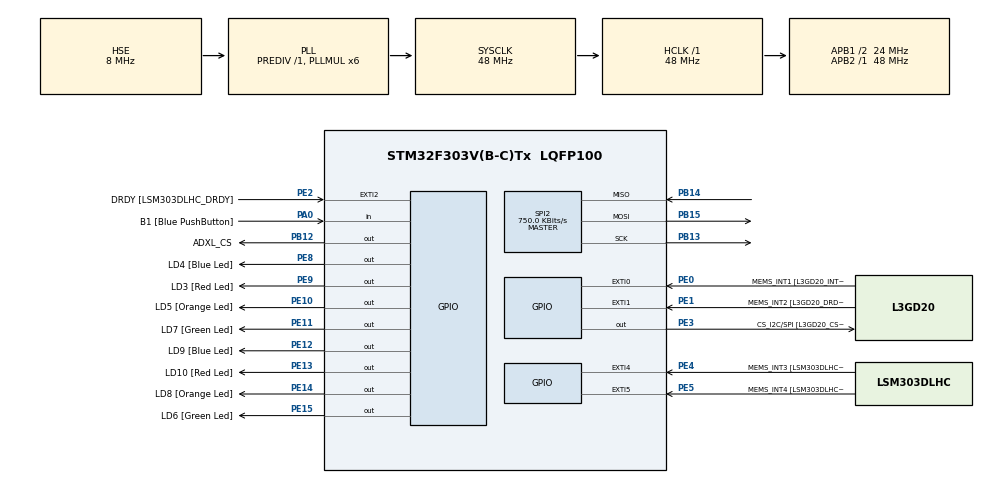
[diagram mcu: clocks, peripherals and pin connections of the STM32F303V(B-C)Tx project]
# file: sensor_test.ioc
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Mcu.Family=STM32F3
Mcu.Name=STM32F303V(B-C)Tx
Mcu.Package=LQFP100
NVIC.PriorityGroup=NVIC_PRIORITYGROUP_0
PA0.GPIO_Label=B1 [Blue PushButton]
PA0.Signal=GPIO_Input
PA13.GPIO_Label=SWDIO
PA13.Mode=Trace_Asynchronous_SW
PA13.Signal=SYS_JTMS-SWDIO
PA14.GPIO_Label=SWCLK
PA14.Mode=Trace_Asynchronous_SW
PA14.Signal=SYS_JTCK-SWCLK
PB12.GPIO_Label=ADXL_CS
PB12.Signal=GPIO_Output
PB13.Mode=Full_Duplex_Master
PB13.Signal=SPI2_SCK
PB14.Mode=Full_Duplex_Master
PB14.Signal=SPI2_MISO
PB15.Mode=Full_Duplex_Master
PB15.Signal=SPI2_MOSI
PB3.GPIO_Label=SWO
PB3.Mode=Trace_Asynchronous_SW
PB3.Signal=SYS_JTDO-TRACESWO
PC14-OSC32_IN.GPIO_Label=OSC32_IN
PC14-OSC32_IN.Signal=RCC_OSC32_IN
PC15-OSC32_OUT.GPIO_Label=OSC32_OUT
PC15-OSC32_OUT.Signal=RCC_OSC32_OUT
PE0.GPIO_Label=MEMS_INT1 [L3GD20_INT1]
PE0.GPIO_ModeDefaultEXTI=GPIO_MODE_EVT_RISING
PE0.Signal=GPXTI0
PE1.GPIO_Label=MEMS_INT2 [L3GD20_DRDY/INT2]
PE1.GPIO_ModeDefaultEXTI=GPIO_MODE_EVT_RISING
PE1.Signal=GPXTI1
PE10.GPIO_Label=LD5 [Orange Led]
PE10.Signal=GPIO_Output
PE11.GPIO_Label=LD7 [Green Led]
PE11.Signal=GPIO_Output
PE12.GPIO_Label=LD9 [Blue Led]
PE12.Signal=GPIO_Output
PE13.GPIO_Label=LD10 [Red Led]
PE13.Signal=GPIO_Output
PE14.GPIO_Label=LD8 [Orange Led]
PE14.Signal=GPIO_Output
PE15.GPIO_Label=LD6 [Green Led]
PE15.Signal=GPIO_Output
PE2.GPIO_Label=DRDY [LSM303DLHC_DRDY]
PE2.GPIO_ModeDefaultEXTI=GPIO_MODE_EVT_RISING
PE2.Signal=GPXTI2
PE3.GPIO_Label=CS_I2C/SPI [L3GD20_CS_I2C/SPI]
PE3.Signal=GPIO_Output
PE4.GPIO_Label=MEMS_INT3 [LSM303DLHC_INT1]
PE4.GPIO_ModeDefaultEXTI=GPIO_MODE_EVT_RISING
PE4.Signal=GPXTI4
PE5.GPIO_Label=MEMS_INT4 [LSM303DLHC_INT2]
PE5.GPIO_ModeDefaultEXTI=GPIO_MODE_EVT_RISING
PE5.Signal=GPXTI5
PE8.GPIO_Label=LD4 [Blue Led]
PE8.Signal=GPIO_Output
PE9.GPIO_Label=LD3 [Red Led]
PE9.Signal=GPIO_Output
PF0-OSC_IN.GPIO_Label=OSC_IN
PF0-OSC_IN.Mode=HSE-External-Clock-Source
PF0-OSC_IN.Signal=RCC_OSC_IN
PF1-OSC_OUT.GPIO_Label=OSC_OUT
PF1-OSC_OUT.Signal=RCC_OSC_OUT
ProjectManager.HeapSize=0x200
ProjectManager.StackSize=0x400
ProjectManager.TargetToolchain=STM32CubeIDE
RCC.AHBFreq_Value=48000000
RCC.APB1CLKDivider=RCC_HCLK_DIV2
RCC.APB1Freq_Value=24000000
RCC.APB1TimFreq_Value=48000000
RCC.APB2Freq_Value=48000000
RCC.APB2TimFreq_Value=48000000
RCC.CortexFreq_Value=48000000
RCC.HCLKFreq_Value=48000000
RCC.HSE_VALUE=8000000
RCC.HSI_VALUE=8000000
RCC.LSE_VALUE=32768
RCC.PLLMUL=RCC_PLL_MUL6
RCC.PLLSourceVirtual=RCC_PLLSOURCE_HSE
RCC.SYSCLKFreq_VALUE=48000000
RCC.SYSCLKSourceVirtual=RCC_SYSCLKSOURCE_PLLCLK
RCC.USBFreq_Value=48000000
SPI2.BaudRatePrescaler=SPI_BAUDRATEPRESCALER_32
SPI2.CLKPhase=SPI_PHASE_2EDGE
SPI2.CLKPolarity=SPI_POLARITY_HIGH
SPI2.CalculateBaudRate=750.0 KBits/s
SPI2.DataSize=SPI_DATASIZE_8BIT
SPI2.Direction=SPI_DIRECTION_2LINES
SPI2.Mode=SPI_MODE_MASTER
SPI2.VirtualType=VM_MASTER
board=STM32F3DISCOVERY

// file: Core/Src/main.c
/* USER CODE BEGIN Header */
/**
  ******************************************************************************
  * @file           : main.c
  * @brief          : Main program body
  ******************************************************************************
  * @attention
  *
  * Copyright (c) 2025 STMicroelectronics.
  * All rights reserved.
  *
  * This software is licensed under terms that can be found in the LICENSE file
  * in the root directory of this software component.
  * If no LICENSE file comes with this software, it is provided AS-IS.
  *
  ******************************************************************************
  */
/* USER CODE END Header */
#include "main.h"

SPI_HandleTypeDef hspi2;

/* USER CODE BEGIN PV */
// ADXL345 Registers
#define ADXL345_REG_DEVID       0x00
#define ADXL345_REG_POWER_CTL   0x2D
#define ADXL345_REG_DATA_FORMAT 0x31
#define ADXL345_REG_DATAX0      0x32

// SPI Command Flags
#define SPI_READ    0x80  // Bit 7: 1 = Read
#define SPI_MULTI   0x40  // Bit 6: 1 = Multi-byte transaction

// Buffer for storing data
uint8_t data_rec[6];
int16_t x_raw, y_raw, z_raw;

/* USER CODE END PV */

void SystemClock_Config(void);
static void MX_GPIO_Init(void);
static void MX_SPI2_Init(void);

/* USER CODE BEGIN 0 */

#include <stdio.h> // Ensure this is included

// This function redirects printf() to the ITM (SWV) Console
int _write(int file, char *ptr, int len)
{
  int i = 0;
  for (i = 0; i < len; i++)
  {
    ITM_SendChar((*ptr++));
  }
  return len;
}
// Function to write to a register
void ADXL_Write(uint8_t reg, uint8_t value) {
    uint8_t data[2];
    data[0] = reg;       // Address (Bit 7 is 0 for Write)
    data[1] = value;     // Data to write

    // 1. Pull CS Low to start transaction
    HAL_GPIO_WritePin(GPIOB, GPIO_PIN_12, GPIO_PIN_RESET);

    // 2. Transmit Address & Data
    HAL_SPI_Transmit(&hspi2, data, 2, 100);

    // 3. Pull CS High to end transaction
    HAL_GPIO_WritePin(GPIOB, GPIO_PIN_12, GPIO_PIN_SET);
}

// Function to read from registers
void ADXL_Read(uint8_t reg, uint8_t* buffer, uint8_t size) {
    uint8_t tx_data[1]; // What we send (Address)

    // ADXL345 Logic: Set Bit 7 for Read. Set Bit 6 if reading multiple bytes.
    tx_data[0] = reg | SPI_READ;
    if(size > 1) {
        tx_data[0] |= SPI_MULTI;
    }

    // 1. Pull CS Low
    HAL_GPIO_WritePin(GPIOB, GPIO_PIN_12, GPIO_PIN_RESET);

    // 2. Send Address
    HAL_SPI_Transmit(&hspi2, tx_data, 1, 100);

    // 3. Receive Data (SPI requires us to "send" dummy bytes to "read" bytes)
    HAL_SPI_Receive(&hspi2, buffer, size, 100);

    // 4. Pull CS High
    HAL_GPIO_WritePin(GPIOB, GPIO_PIN_12, GPIO_PIN_SET);
}

// Initialization Sequence
void ADXL_Init(void) {
    uint8_t dev_id = 0;

    // 1. Read Device ID
    ADXL_Read(ADXL345_REG_DEVID, &dev_id, 1);

    // 2. CHECK STATUS
    if(dev_id == 0xE5) {
        // SUCCESS: Turn ON the LED (Solid)
        HAL_GPIO_WritePin(GPIOE, GPIO_PIN_9, GPIO_PIN_SET);
    } else {
        // FAILURE: Fast Blink
        while(1) {
            HAL_GPIO_TogglePin(GPIOE, GPIO_PIN_9);
            HAL_Delay(50);
        }
    }

    // 3. Configure Data Format (Only if ID was good)
    ADXL_Write(ADXL345_REG_DATA_FORMAT, 0x0B); // +/- 16g, Full Res
    ADXL_Write(ADXL345_REG_POWER_CTL, 0x08);   // Measurement Mode
}

/* USER CODE END 0 */

int main(void)
{

  /* MCU Configuration--------------------------------------------------------*/

  /* Reset of all peripherals, Initializes the Flash interface and the Systick. */  HAL_Init();

  /* Configure the system clock */
  SystemClock_Config();

  /* Initialize all configured peripherals */
  MX_GPIO_Init();
  MX_SPI2_Init();
  /* USER CODE BEGIN 2 */

  // MANUAL FIX: Force PB3 (SWO) to High Speed for clear Trace output
    GPIO_InitTypeDef GPIO_InitStruct = {0};
    GPIO_InitStruct.Pin = GPIO_PIN_3;
    GPIO_InitStruct.Mode = GPIO_MODE_AF_PP;
    GPIO_InitStruct.Pull = GPIO_NOPULL;
    GPIO_InitStruct.Speed = GPIO_SPEED_FREQ_HIGH; // <--- The secret sauce
    GPIO_InitStruct.Alternate = GPIO_AF0_TRACE;   // Ensure it stays as Trace
    HAL_GPIO_Init(GPIOB, &GPIO_InitStruct);

  // Pull CS High initially (Idle state)
  HAL_GPIO_WritePin(GPIOB, GPIO_PIN_12, GPIO_PIN_SET);
 HAL_Delay(100);

  ADXL_Init();

  /* USER CODE END 2 */

  /* Infinite loop */
  /* USER CODE BEGIN WHILE */
  while (1)
  {
	  // 1. Read 6 Bytes starting from DATAX0 (0x32)
	        // This gets X_Low, X_High, Y_Low, Y_High, Z_Low, Z_High
	  // 1. Array to hold raw bytes (6 bytes for X, Y, Z)
	      uint8_t data_rec[6];

	      // 2. Read 6 bytes starting from DATAX0 (0x32)
	      // Note: Ensure bit 6 of reg address is set for multi-byte read (0x32 | 0x40 = 0x72)
	      // If your ADXL_Read function handles the 0x40 bit automatically, just use 0x32.
	      ADXL_Read(0x32, data_rec, 6);

	      // 3. Convert bytes to 16-bit integers
	      int16_t x = ((data_rec[1] << 8) | data_rec[0]);
	      int16_t y = ((data_rec[3] << 8) | data_rec[2]);
	      int16_t z = ((data_rec[5] << 8) | data_rec[4]);

	      // 4. Print to SWV Console
	      printf("X: %d, Y: %d, Z: %d\r\n", x, y, z);

	      // 5. Visual Heartbeat
	      HAL_GPIO_TogglePin(GPIOE, GPIO_PIN_9);
	      HAL_Delay(100);
    /* USER CODE END WHILE */

  }
}

void SystemClock_Config(void)
{
  RCC_OscInitTypeDef RCC_OscInitStruct = {0};
  RCC_ClkInitTypeDef RCC_ClkInitStruct = {0};

  /** Initializes the RCC Oscillators according to the specified parameters
  * in the RCC_OscInitTypeDef structure.
  */
  RCC_OscInitStruct.OscillatorType = RCC_OSCILLATORTYPE_HSE;
  RCC_OscInitStruct.HSEState = RCC_HSE_BYPASS;
  RCC_OscInitStruct.HSEPredivValue = RCC_HSE_PREDIV_DIV1;
  RCC_OscInitStruct.HSIState = RCC_HSI_ON;
  RCC_OscInitStruct.PLL.PLLState = RCC_PLL_ON;
  RCC_OscInitStruct.PLL.PLLSource = RCC_PLLSOURCE_HSE;
  RCC_OscInitStruct.PLL.PLLMUL = RCC_PLL_MUL6;
  if (HAL_RCC_OscConfig(&RCC_OscInitStruct) != HAL_OK)
  {
    Error_Handler();
  }

  /** Initializes the CPU, AHB and APB buses clocks
  */
  RCC_ClkInitStruct.ClockType = RCC_CLOCKTYPE_HCLK|RCC_CLOCKTYPE_SYSCLK
                              |RCC_CLOCKTYPE_PCLK1|RCC_CLOCKTYPE_PCLK2;
  RCC_ClkInitStruct.SYSCLKSource = RCC_SYSCLKSOURCE_PLLCLK;
  RCC_ClkInitStruct.AHBCLKDivider = RCC_SYSCLK_DIV1;
  RCC_ClkInitStruct.APB1CLKDivider = RCC_HCLK_DIV2;
  RCC_ClkInitStruct.APB2CLKDivider = RCC_HCLK_DIV1;

  if (HAL_RCC_ClockConfig(&RCC_ClkInitStruct, FLASH_LATENCY_1) != HAL_OK)
  {
    Error_Handler();
  }
}

static void MX_SPI2_Init(void)
{

  /* SPI2 parameter configuration*/
  hspi2.Instance = SPI2;
  hspi2.Init.Mode = SPI_MODE_MASTER;
  hspi2.Init.Direction = SPI_DIRECTION_2LINES;
  hspi2.Init.DataSize = SPI_DATASIZE_8BIT;
  hspi2.Init.CLKPolarity = SPI_POLARITY_HIGH;
  hspi2.Init.CLKPhase = SPI_PHASE_2EDGE;
  hspi2.Init.NSS = SPI_NSS_SOFT;
  hspi2.Init.BaudRatePrescaler = SPI_BAUDRATEPRESCALER_32;
  hspi2.Init.FirstBit = SPI_FIRSTBIT_MSB;
  hspi2.Init.TIMode = SPI_TIMODE_DISABLE;
  hspi2.Init.CRCCalculation = SPI_CRCCALCULATION_DISABLE;
  hspi2.Init.CRCPolynomial = 7;
  hspi2.Init.CRCLength = SPI_CRC_LENGTH_DATASIZE;
  hspi2.Init.NSSPMode = SPI_NSS_PULSE_DISABLE;
  if (HAL_SPI_Init(&hspi2) != HAL_OK)
  {
    Error_Handler();
  }

}

static void MX_GPIO_Init(void)
{
  GPIO_InitTypeDef GPIO_InitStruct = {0};

  /* GPIO Ports Clock Enable */
  __HAL_RCC_GPIOE_CLK_ENABLE();
  __HAL_RCC_GPIOC_CLK_ENABLE();
  __HAL_RCC_GPIOF_CLK_ENABLE();
  __HAL_RCC_GPIOA_CLK_ENABLE();
  __HAL_RCC_GPIOB_CLK_ENABLE();

  /*Configure GPIO pin Output Level */
  HAL_GPIO_WritePin(GPIOE, CS_I2C_SPI_Pin|LD4_Pin|LD3_Pin|LD5_Pin
                          |LD7_Pin|LD9_Pin|LD10_Pin|LD8_Pin
                          |LD6_Pin, GPIO_PIN_RESET);

  /*Configure GPIO pin Output Level */
  HAL_GPIO_WritePin(ADXL_CS_GPIO_Port, ADXL_CS_Pin, GPIO_PIN_RESET);

  /*Configure GPIO pins : DRDY_Pin MEMS_INT3_Pin MEMS_INT4_Pin MEMS_INT1_Pin
                           MEMS_INT2_Pin */
  GPIO_InitStruct.Pin = DRDY_Pin|MEMS_INT3_Pin|MEMS_INT4_Pin|MEMS_INT1_Pin
                          |MEMS_INT2_Pin;
  GPIO_InitStruct.Mode = GPIO_MODE_EVT_RISING;
  GPIO_InitStruct.Pull = GPIO_NOPULL;
  HAL_GPIO_Init(GPIOE, &GPIO_InitStruct);

  /*Configure GPIO pins : CS_I2C_SPI_Pin LD4_Pin LD3_Pin LD5_Pin
                           LD7_Pin LD9_Pin LD10_Pin LD8_Pin
                           LD6_Pin */
  GPIO_InitStruct.Pin = CS_I2C_SPI_Pin|LD4_Pin|LD3_Pin|LD5_Pin
                          |LD7_Pin|LD9_Pin|LD10_Pin|LD8_Pin
                          |LD6_Pin;
  GPIO_InitStruct.Mode = GPIO_MODE_OUTPUT_PP;
  GPIO_InitStruct.Pull = GPIO_NOPULL;
  GPIO_InitStruct.Speed = GPIO_SPEED_FREQ_LOW;
  HAL_GPIO_Init(GPIOE, &GPIO_InitStruct);

  /*Configure GPIO pin : B1_Pin */
  GPIO_InitStruct.Pin = B1_Pin;
  GPIO_InitStruct.Mode = GPIO_MODE_INPUT;
  GPIO_InitStruct.Pull = GPIO_NOPULL;
  HAL_GPIO_Init(B1_GPIO_Port, &GPIO_InitStruct);

  /*Configure GPIO pin : ADXL_CS_Pin */
  GPIO_InitStruct.Pin = ADXL_CS_Pin;
  GPIO_InitStruct.Mode = GPIO_MODE_OUTPUT_PP;
  GPIO_InitStruct.Pull = GPIO_NOPULL;
  GPIO_InitStruct.Speed = GPIO_SPEED_FREQ_LOW;
  HAL_GPIO_Init(ADXL_CS_GPIO_Port, &GPIO_InitStruct);

}

void Error_Handler(void)
{
  __disable_irq();
  while (1)
  {
  }
}
